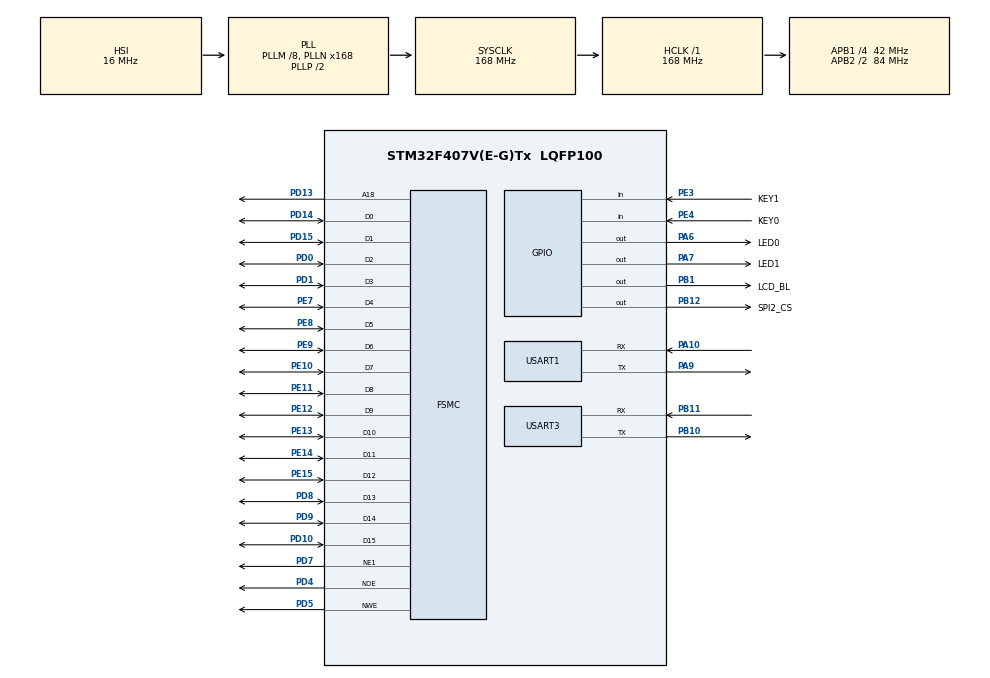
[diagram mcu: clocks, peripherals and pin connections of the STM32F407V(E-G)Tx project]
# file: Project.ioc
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Dma.Request0=USART1_RX
Dma.Request1=USART3_TX
Dma.Request2=USART1_TX
Dma.USART1_RX.0.Direction=DMA_PERIPH_TO_MEMORY
Dma.USART1_RX.0.FIFOMode=DMA_FIFOMODE_DISABLE
Dma.USART1_RX.0.Instance=DMA2_Stream2
Dma.USART1_RX.0.MemDataAlignment=DMA_MDATAALIGN_BYTE
Dma.USART1_RX.0.MemInc=DMA_MINC_ENABLE
Dma.USART1_RX.0.Mode=DMA_NORMAL
Dma.USART1_RX.0.PeriphDataAlignment=DMA_PDATAALIGN_BYTE
Dma.USART1_RX.0.PeriphInc=DMA_PINC_DISABLE
Dma.USART1_RX.0.Priority=DMA_PRIORITY_LOW
Dma.USART1_TX.2.Direction=DMA_MEMORY_TO_PERIPH
Dma.USART1_TX.2.FIFOMode=DMA_FIFOMODE_DISABLE
Dma.USART1_TX.2.Instance=DMA2_Stream7
Dma.USART1_TX.2.MemDataAlignment=DMA_MDATAALIGN_BYTE
Dma.USART1_TX.2.MemInc=DMA_MINC_ENABLE
Dma.USART1_TX.2.Mode=DMA_NORMAL
Dma.USART1_TX.2.PeriphDataAlignment=DMA_PDATAALIGN_BYTE
Dma.USART1_TX.2.PeriphInc=DMA_PINC_DISABLE
Dma.USART1_TX.2.Priority=DMA_PRIORITY_LOW
Dma.USART3_TX.1.Direction=DMA_MEMORY_TO_PERIPH
Dma.USART3_TX.1.FIFOMode=DMA_FIFOMODE_DISABLE
Dma.USART3_TX.1.Instance=DMA1_Stream3
Dma.USART3_TX.1.MemDataAlignment=DMA_MDATAALIGN_BYTE
Dma.USART3_TX.1.MemInc=DMA_MINC_ENABLE
Dma.USART3_TX.1.Mode=DMA_NORMAL
Dma.USART3_TX.1.PeriphDataAlignment=DMA_PDATAALIGN_BYTE
Dma.USART3_TX.1.PeriphInc=DMA_PINC_DISABLE
Dma.USART3_TX.1.Priority=DMA_PRIORITY_LOW
FREERTOS.Tasks01=defaultTask,24,128,StartDefaultTask,Default,NULL,Dynamic,NULL,NULL
FREERTOS.configTOTAL_HEAP_SIZE=30720
FREERTOS.configUSE_TICK_HOOK=1
FSMC.AddressSetupTime1=15
FSMC.BusTurnAroundDuration1=0
FSMC.DataSetupTime1=60
FSMC.ExtendedAddressSetupTime1=9
FSMC.ExtendedDataSetupTime1=1
FSMC.ExtendedMode1=FSMC_EXTENDED_MODE_ENABLE
Mcu.Family=STM32F4
Mcu.Name=STM32F407V(E-G)Tx
Mcu.Package=LQFP100
NVIC.DMA1_Stream3_IRQn=true\:5\:0\:true\:false\:true\:true\:false\:true\:true
NVIC.DMA2_Stream2_IRQn=true\:5\:0\:false\:false\:true\:true\:false\:true\:true
NVIC.DMA2_Stream7_IRQn=true\:5\:0\:false\:false\:true\:true\:false\:true\:true
NVIC.PriorityGroup=NVIC_PRIORITYGROUP_4
NVIC.TIM3_IRQn=true\:15\:0\:false\:false\:true\:false\:false\:true\:true
NVIC.TimeBase=TIM3_IRQn
NVIC.TimeBaseIP=TIM3
NVIC.USART1_IRQn=true\:5\:0\:true\:false\:true\:true\:true\:true\:true
NVIC.USART3_IRQn=true\:6\:0\:true\:false\:true\:true\:true\:true\:true
PA10.GPIO_Speed=GPIO_SPEED_FREQ_HIGH
PA10.Mode=Asynchronous
PA10.Signal=USART1_RX
PA13.Mode=Serial_Wire
PA13.Signal=SYS_JTMS-SWDIO
PA14.Mode=Serial_Wire
PA14.Signal=SYS_JTCK-SWCLK
PA6.GPIO_Label=LED0
PA6.Signal=GPIO_Output
PA7.GPIO_Label=LED1
PA7.Signal=GPIO_Output
PA9.GPIO_Speed=GPIO_SPEED_FREQ_HIGH
PA9.Mode=Asynchronous
PA9.Signal=USART1_TX
PB1.GPIO_Label=LCD_BL
PB1.Signal=GPIO_Output
PB10.GPIO_Speed=GPIO_SPEED_FREQ_HIGH
PB10.Mode=Asynchronous
PB10.Signal=USART3_TX
PB11.GPIO_Speed=GPIO_SPEED_FREQ_HIGH
PB11.Mode=Asynchronous
PB11.Signal=USART3_RX
PB12.GPIO_Label=SPI2_CS
PB12.Signal=GPIO_Output
PB13.Signal=SPI2_SCK
PB14.Signal=SPI2_MISO
PB15.Signal=SPI2_MOSI
PC14-OSC32_IN.Mode=LSE-External-Oscillator
PC14-OSC32_IN.Signal=RCC_OSC32_IN
PC15-OSC32_OUT.Mode=LSE-External-Oscillator
PC15-OSC32_OUT.Signal=RCC_OSC32_OUT
PD0.Mode=16b-d1
PD0.Signal=FSMC_D2
PD1.Mode=16b-d1
PD1.Signal=FSMC_D3
PD10.Mode=16b-d1
PD10.Signal=FSMC_D15
PD13.Mode=A18_1
PD13.Signal=FSMC_A18
PD14.Mode=16b-d1
PD14.Signal=FSMC_D0
PD15.Mode=16b-d1
PD15.Signal=FSMC_D1
PD4.Mode=Lcd1
PD4.Signal=FSMC_NOE
PD5.Mode=Lcd1
PD5.Signal=FSMC_NWE
PD7.Mode=NorPsramChipSelect1_1
PD7.Signal=FSMC_NE1
PD8.Mode=16b-d1
PD8.Signal=FSMC_D13
PD9.Mode=16b-d1
PD9.Signal=FSMC_D14
PE10.Mode=16b-d1
PE10.Signal=FSMC_D7
PE11.Mode=16b-d1
PE11.Signal=FSMC_D8
PE12.Mode=16b-d1
PE12.Signal=FSMC_D9
PE13.Mode=16b-d1
PE13.Signal=FSMC_D10
PE14.Mode=16b-d1
PE14.Signal=FSMC_D11
PE15.Mode=16b-d1
PE15.Signal=FSMC_D12
PE3.GPIO_Label=KEY1
PE3.GPIO_PuPd=GPIO_PULLUP
PE3.Signal=GPIO_Input
PE4.GPIO_Label=KEY0
PE4.GPIO_PuPd=GPIO_PULLUP
PE4.Signal=GPIO_Input
PE7.Mode=16b-d1
PE7.Signal=FSMC_D4
PE8.Mode=16b-d1
PE8.Signal=FSMC_D5
PE9.Mode=16b-d1
PE9.Signal=FSMC_D6
PH0-OSC_IN.Mode=HSE-External-Oscillator
PH0-OSC_IN.Signal=RCC_OSC_IN
PH1-OSC_OUT.Mode=HSE-External-Oscillator
PH1-OSC_OUT.Signal=RCC_OSC_OUT
ProjectManager.HeapSize=0x200
ProjectManager.StackSize=0x400
ProjectManager.TargetToolchain=MDK-ARM V5
RCC.48MHZClocksFreq_Value=84000000
RCC.AHBFreq_Value=168000000
RCC.APB1CLKDivider=RCC_HCLK_DIV4
RCC.APB1Freq_Value=42000000
RCC.APB1TimFreq_Value=84000000
RCC.APB2CLKDivider=RCC_HCLK_DIV2
RCC.APB2Freq_Value=84000000
RCC.APB2TimFreq_Value=168000000
RCC.CortexFreq_Value=168000000
RCC.HCLKFreq_Value=168000000
RCC.HSE_VALUE=8000000
RCC.HSI_VALUE=16000000
RCC.PLLM=8
RCC.PLLN=168
RCC.RCC_RTC_Clock_Source=RCC_RTCCLKSOURCE_LSE
RCC.RCC_RTC_Clock_SourceVirtual=RCC_RTCCLKSOURCE_LSE
RCC.SYSCLKFreq_VALUE=168000000
RCC.SYSCLKSource=RCC_SYSCLKSOURCE_PLLCLK
RCC.VCOOutputFreq_Value=336000000
USART1.VirtualMode=VM_ASYNC
USART3.VirtualMode=VM_ASYNC
VP_FREERTOS_VS_CMSIS_V2.Mode=CMSIS_V2
VP_RTC_VS_RTC_Activate.Mode=RTC_Enabled
VP_RTC_VS_RTC_Calendar.Mode=RTC_Calendar
VP_SYS_VS_tim3.Mode=TIM3
board=custom

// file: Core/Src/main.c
/* USER CODE BEGIN Header */
/**
 ******************************************************************************
 * @file           : main.c
 * @brief          : Main program body
 ******************************************************************************
 * @attention
 *
 * Copyright (c) 2025 STMicroelectronics.
 * All rights reserved.
 *
 * This software is licensed under terms that can be found in the LICENSE file
 * in the root directory of this software component.
 * If no LICENSE file comes with this software, it is provided AS-IS.
 *
 ******************************************************************************
 */
/* USER CODE END Header */
#include "main.h"
#include "cmsis_os.h"
#include "dma.h"
#include "rtc.h"
#include "usart.h"
#include "gpio.h"
#include "fsmc.h"

/* USER CODE BEGIN Includes */
#include "lcd.h"
#include "touch.h"
#include "delay.h"
#include "lv_port_disp.h"
#include "lv_port_indev.h"
#include "lv_port_fs.h"
#include "events_init.h"
#include "gui_guider.h"
#include "esp8266.h"
#include "norflash.h"
/* USER CODE END Includes */

void SystemClock_Config(void);
void MX_FREERTOS_Init(void);
/* USER CODE BEGIN PFP */
void rtp_test(void);
void load_draw_dialog(void);
/* USER CODE END PFP */

/* USER CODE BEGIN 0 */
lv_ui guider_ui;
char at_test[] = "AT\r\n";
/* USER CODE END 0 */

int main(void)
{

  /* MCU Configuration--------------------------------------------------------*/

  /* Reset of all peripherals, Initializes the Flash interface and the Systick. */
  HAL_Init();

  /* Configure the system clock */
  SystemClock_Config();

  /* Initialize all configured peripherals */
  MX_GPIO_Init();
  MX_DMA_Init();
  // MX_FSMC_Init();
  MX_USART1_UART_Init();
  MX_RTC_Init();
  MX_USART3_UART_Init();
  /* USER CODE BEGIN 2 */
	delay_init();
  norflash_init();  //初始化w25q64
  /* 延时等待2s，等待ESP8266稳定 */
  HAL_Delay(2000);

  // char s[] = "AT\r\n";
  // HAL_UART_Transmit_DMA(&huart1, (uint8_t*)s, strlen(s));

  if(ESP8266_Init() == 1)
  {
    /* 如果WIFI连接成功，进行时间的校准 */

  }

  // 初始化esp8266使用的串口发送的阻塞模式+DMA2接收，初始化完模块后，启用DMA2发送
  MX_USART1_UART_Init_DMA();

	lv_init();                          // lvgl初始化
  lv_port_disp_init();                // 显示设备初始化
  // lv_port_indev_init();               // 输入设备初始化
  /* File system support for SPI Flash */
  // lv_port_fs_init();

	/* 使用GUI GUIDIER创建的UI */
	setup_ui(&guider_ui);
	events_init(&guider_ui);
	/*-----------------------*/
  /* USER CODE END 2 */

  /* Init scheduler */
  osKernelInitialize();  /* Call init function for freertos objects (in cmsis_os2.c) */
  MX_FREERTOS_Init();

  /* Start scheduler */
  osKernelStart();

  /* We should never get here as control is now taken by the scheduler */

  /* Infinite loop */
	while (1)
	{

	}
}

void SystemClock_Config(void)
{
  RCC_OscInitTypeDef RCC_OscInitStruct = {0};
  RCC_ClkInitTypeDef RCC_ClkInitStruct = {0};

  /** Configure the main internal regulator output voltage
  */
  __HAL_RCC_PWR_CLK_ENABLE();
  __HAL_PWR_VOLTAGESCALING_CONFIG(PWR_REGULATOR_VOLTAGE_SCALE1);

  /** Initializes the RCC Oscillators according to the specified parameters
  * in the RCC_OscInitTypeDef structure.
  */
  RCC_OscInitStruct.OscillatorType = RCC_OSCILLATORTYPE_HSI|RCC_OSCILLATORTYPE_LSE;
  RCC_OscInitStruct.LSEState = RCC_LSE_ON;
  RCC_OscInitStruct.HSIState = RCC_HSI_ON;
  RCC_OscInitStruct.HSICalibrationValue = RCC_HSICALIBRATION_DEFAULT;
  RCC_OscInitStruct.PLL.PLLState = RCC_PLL_ON;
  RCC_OscInitStruct.PLL.PLLSource = RCC_PLLSOURCE_HSI;
  RCC_OscInitStruct.PLL.PLLM = 8;
  RCC_OscInitStruct.PLL.PLLN = 168;
  RCC_OscInitStruct.PLL.PLLP = RCC_PLLP_DIV2;
  RCC_OscInitStruct.PLL.PLLQ = 4;
  if (HAL_RCC_OscConfig(&RCC_OscInitStruct) != HAL_OK)
  {
    Error_Handler();
  }

  /** Initializes the CPU, AHB and APB buses clocks
  */
  RCC_ClkInitStruct.ClockType = RCC_CLOCKTYPE_HCLK|RCC_CLOCKTYPE_SYSCLK
                              |RCC_CLOCKTYPE_PCLK1|RCC_CLOCKTYPE_PCLK2;
  RCC_ClkInitStruct.SYSCLKSource = RCC_SYSCLKSOURCE_PLLCLK;
  RCC_ClkInitStruct.AHBCLKDivider = RCC_SYSCLK_DIV1;
  RCC_ClkInitStruct.APB1CLKDivider = RCC_HCLK_DIV4;
  RCC_ClkInitStruct.APB2CLKDivider = RCC_HCLK_DIV2;

  if (HAL_RCC_ClockConfig(&RCC_ClkInitStruct, FLASH_LATENCY_5) != HAL_OK)
  {
    Error_Handler();
  }
}

/* USER CODE BEGIN 4 */

/**
 * @brief       电阻触摸屏测试函数
 * @param       无
 * @retval      无
 */
void rtp_test(void)
{
	uint8_t i = 0;

	while (1)
	{
		// key = key_scan(0);
		tp_dev.scan(0);

		if (tp_dev.sta & TP_PRES_DOWN) /* 触摸屏被按下 */
		{
			if (tp_dev.x[0] < lcddev.width && tp_dev.y[0] < lcddev.height)
			{
				if (tp_dev.x[0] > (lcddev.width - 24) && tp_dev.y[0] < 16)
				{
					load_draw_dialog(); /* 清除 */
				}
				else
				{
					tp_draw_big_point(tp_dev.x[0], tp_dev.y[0], RED); /* 绘制 */
				}
			}
		}
		else
		{
			delay_ms(10); /* 延时10ms */
		}

		if (HAL_GPIO_ReadPin(KEY0_GPIO_Port, KEY0_Pin) == GPIO_PIN_RESET) /* 有按键按下 */
		{
			delay_ms(20);	/* 去除抖动 */
			if (HAL_GPIO_ReadPin(KEY0_GPIO_Port, KEY0_Pin) == GPIO_PIN_RESET)
			{
				lcd_clear(WHITE); /* 清屏 */
				tp_adjust();	  /* 校准 */
				// tp_save_adjust_data();
				load_draw_dialog();
			}

		}

		i++;

		if (i % 20 == 0)
			HAL_GPIO_TogglePin(LED0_GPIO_Port, LED0_Pin);
	}
}

/**
 * @brief       清空屏幕，并在右上角显示RST
 * @param       无
 * @retval      无
 */
void load_draw_dialog(void)
{
    lcd_clear(WHITE);                                                /* 清屏 */
    lcd_show_string(lcddev.width - 24, 0, 200, 16, 16, "RST", BLUE); /* 显示清屏区域 */
}

/* USER CODE END 4 */

void HAL_TIM_PeriodElapsedCallback(TIM_HandleTypeDef *htim)
{
  if (htim->Instance == TIM3)
  {
    HAL_IncTick();
  }
}

void Error_Handler(void)
{
	__disable_irq();
	while (1)
	{
	}
}

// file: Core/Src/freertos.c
/* USER CODE BEGIN Header */
/**
 ******************************************************************************
 * File Name          : freertos.c
 * Description        : Code for freertos applications
 ******************************************************************************
 * @attention
 *
 * Copyright (c) 2025 STMicroelectronics.
 * All rights reserved.
 *
 * This software is licensed under terms that can be found in the LICENSE file
 * in the root directory of this software component.
 * If no LICENSE file comes with this software, it is provided AS-IS.
 *
 ******************************************************************************
 */
/* USER CODE END Header */

#include "FreeRTOS.h"
#include "task.h"
#include "main.h"
#include "cmsis_os.h"

/* USER CODE BEGIN Includes */
#include "lcd.h"
#include "usart.h"
#include "lvgl.h"
#include "norflash.h"
#include "touch.h"
#include "string.h"
#include "rtc.h"
#include "stdio.h"
#include "esp8266.h"
#include "weather.h"
/* USER CODE END Includes */

/* USER CODE BEGIN Variables */

/* 采用cmsis标准来设置句柄 */

osThreadId_t LVGLTaskHandle;
const osThreadAttr_t LVGLTask_attributes = {
	.name = "LVGLTask",
	.stack_size = 1024 * 10,
	.priority = (osPriority_t)osPriorityHigh,
};

osThreadId_t KEYTaskHandle;
const osThreadAttr_t KEYTask_attributes = {
	.name = "KEYTask",
	.stack_size = 128,
	.priority = (osPriority_t)osPriorityNormal,
};

osThreadId_t WifiTaskHandle;
const osThreadAttr_t WifiTask_attributes = {
	.name = "WifiTask",
	.stack_size = 128,
	.priority = (osPriority_t)osPriorityBelowNormal,
};

osThreadId_t Send_Data_To_Server_TaskHandle;
const osThreadAttr_t Send_Data_To_Server_Task_attributes = {
	.name = "Send_Data_To_Server_Task",
	.stack_size = 1024 * 2,
	.priority = (osPriority_t)osPriorityBelowNormal1,
};

osThreadId_t Uart_dma_rx_TaskHandle;
const osThreadAttr_t Uart_dma_rx_Task_attributes = {
	.name = "Uart_dma_rx_Task",
	.stack_size = 1024 * 2,
	.priority = (osPriority_t)osPriorityBelowNormal2,
};

// 天气定时器
osTimerId_t timer_id1;

//超时定时器，用于判断数据是否接收完整
osTimerId_t timeout_timer;

/* 当flag 0号位被置位时，触发更新天气任务 */
uint32_t update_weather_flag = (0x01 << 0);

/* DMA接收任务信号量 */
osSemaphoreId_t dma_rx_sem;

/* 更新天气的信号 */
osSemaphoreId_t update_weather_sem;

/* 串口发送完成信号量 */
osSemaphoreId_t uart_tc_sem;

/* 传递接收数据的队列（存储数据长度） */
osMessageQueueId_t g_rx_data_queue;

/* ESP8266指令队列 */
osMessageQueueId_t cmd_queue;

// 用与判断接收到数据的响应
osMessageQueueId_t ack_queue;

/* USER CODE END Variables */
/* Definitions for defaultTask */
osThreadId_t defaultTaskHandle;
const osThreadAttr_t defaultTask_attributes = {
  .name = "defaultTask",
  .stack_size = 128 * 4,
  .priority = (osPriority_t) osPriorityNormal,
};

/* USER CODE BEGIN FunctionPrototypes */
void KEYTask(void *argument);
void LVGLTask(void *argument);
void WifiTask(void *argument);
void Cmd_Send_and_Response_Task(void *argument);
void Uart_dma_rx_task(void *argument);
void Send_Data_To_Server_Task(void *argument);

void WeatherTimer(void); 	//定时更新天气
void TimeoutTimer(void);	//超时定时器

/* USER CODE END FunctionPrototypes */

void StartDefaultTask(void *argument);

void MX_FREERTOS_Init(void); /* (MISRA C 2004 rule 8.1) */

/* Hook prototypes */
void vApplicationTickHook(void);

/* USER CODE BEGIN 3 */
void vApplicationTickHook(void)
{
	/* This function will be called by each tick interrupt if
	configUSE_TICK_HOOK is set to 1 in FreeRTOSConfig.h. User code can be
	added here, but the tick hook is called from an interrupt context, so
	code must not attempt to block, and only the interrupt safe FreeRTOS API
	functions can be used (those that end in FromISR()). */
	lv_tick_inc(1);
}
/* USER CODE END 3 */

void MX_FREERTOS_Init(void) {

  /* USER CODE BEGIN RTOS_SEMAPHORES */
	/* add semaphores, ... */
	/* 配置：最大令牌1（二进制），初始令牌0（创建后无令牌，任务需等待） */
	dma_rx_sem = osSemaphoreNew(1, 0, NULL);

	/* 配置：最大令牌1（二进制），初始令牌1（创建后即可使用UART发送） */
	// uart_tc_sem = osSemaphoreNew(1, 0, NULL);

	update_weather_sem = osSemaphoreNew(1, 0, NULL);

	/* 接收数据队列：存储uint16_t（数据长度），队列长度8，无属性 */
	// g_rx_data_queue = osMessageQueueNew(8, sizeof(uint16_t), NULL);
	// cmd_queue = osMessageQueueNew(5, sizeof(char*), NULL);
	ack_queue = osMessageQueueNew(5, sizeof(uint8_t), NULL);
  /* USER CODE END RTOS_SEMAPHORES */

  /* Create the thread(s) */
  /* creation of defaultTask */
//   defaultTaskHandle = osThreadNew(StartDefaultTask, NULL, &defaultTask_attributes);

  /* USER CODE BEGIN RTOS_THREADS */
	/* add threads, ... */
	// KEYTaskHandle = osThreadNew(KEYTask, NULL, &KEYTask_attributes);
	LVGLTaskHandle = osThreadNew(LVGLTask, NULL, &LVGLTask_attributes);
	// Cmd_Send_and_Response_TaskHandle = osThreadNew(Cmd_Send_and_Response_Task, NULL, &Cmd_Send_and_Response_Task_attributes);
	Uart_dma_rx_TaskHandle = osThreadNew(Uart_dma_rx_task, NULL, &Uart_dma_rx_Task_attributes);
	Send_Data_To_Server_TaskHandle = osThreadNew(Send_Data_To_Server_Task, NULL, &Send_Data_To_Server_Task_attributes);
	// Uart_tx_TaskHandle = osThreadNew(Uart_tx_task, NULL, &Uart_tx_Task_attributes);
	// WifiTaskHandle = osThreadNew(WifiTask, NULL, &LVGLTask_attributes);
  /* USER CODE END RTOS_THREADS */

}

void StartDefaultTask(void *argument)
{
  /* USER CODE BEGIN StartDefaultTask */
	RTC_TimeTypeDef lastPrintTime = {0};
	uint8_t isFirstRun = 1;
	/* Infinite loop */
	for (;;)
	{
		// lcd_show_num(10, 130, 240, 24, 24);
		// lcd_show_string(10, 130, 240, 24, 24, "https://github.com/qianxiaohan", RED);
		// uart_transmit_str(huart3, (uint8_t*)"hello lyx\r\n");
		// osDelay(pdMS_TO_TICKS(1000));
		char aShowTime[50] = {0};
		RTC_TimeTypeDef currentTime;
		RTC_DateTypeDef currentDate;

		/* Get the RTC current Time */
		HAL_StatusTypeDef status1 = HAL_RTC_GetTime(&hrtc, &currentTime, RTC_FORMAT_BIN);
		HAL_StatusTypeDef status2 = HAL_RTC_GetDate(&hrtc, &currentDate, RTC_FORMAT_BIN);

		/* 第一次运行 */
		if(isFirstRun)
		{
			lastPrintTime = currentTime;
			isFirstRun = 0;
			sprintf(aShowTime, "%2d:%2d:%2d\r\n", currentTime.Hours, currentTime.Minutes, currentTime.Seconds);

			if (osSemaphoreAcquire(uart_tc_sem, 1000) == osOK)
			{
				uart_transmit_str(huart3, (uint8_t *)aShowTime);
				osSemaphoreRelease(uart_tc_sem);
			}
		}
		else
		{
			/* 上次打印到现在经过的分钟数 */
			uint16_t totalMinutesLast = lastPrintTime.Hours * 60 + lastPrintTime.Minutes;
			uint16_t totalMinutesCurrent = currentTime.Hours * 60 + currentTime.Minutes;
			uint16_t minuteDifference = totalMinutesCurrent - totalMinutesLast;

			if(minuteDifference >= 1)
			{
				lastPrintTime = currentTime;
				sprintf(aShowTime, "%2d:%2d:%2d\r\n", currentTime.Hours, currentTime.Minutes, currentTime.Seconds);

				if (osSemaphoreAcquire(uart_tc_sem, 1000) == osOK)
				{
					uart_transmit_str(huart3, (uint8_t *)aShowTime);
					osSemaphoreRelease(uart_tc_sem);
				}
				osSemaphoreRelease(update_weather_sem);
			}
		}

		osDelay(pdMS_TO_TICKS(5000));

	}
  /* USER CODE END StartDefaultTask */
}

/* USER CODE BEGIN Application */

void KEYTask(void *argument)
{
	/* Infinite loop */
	uint8_t pressed = 0; // 1表示按键按下，0表示按键松开
	uint8_t erase_value[ADJDATA_SIZE];
	memset(erase_value, 0xFF, sizeof(erase_value));
	for (;;)
	{
		if (HAL_GPIO_ReadPin(KEY0_GPIO_Port, KEY0_Pin) == GPIO_PIN_RESET)
		{
			osDelay(pdMS_TO_TICKS(20));
			if ((HAL_GPIO_ReadPin(KEY0_GPIO_Port, KEY0_Pin) == GPIO_PIN_RESET) && (pressed == 0))
			{
				/* 清除FLASH中的13个字节的校准数据 */
				norflash_write(erase_value, TP_SAVE_ADDR_BASE, ADJDATA_SIZE);
			}
		}
		else
		{
			pressed = 0; /* 按键松开 */
		}
		/* delay 100ms */
		osDelay(pdMS_TO_TICKS(100));
	}
}

void LVGLTask(void *argument)
{
	/* Infinite loop */
	for (;;)
	{
		lv_timer_handler();
		/* delay 5ms */
		osDelay(pdMS_TO_TICKS(5));
	}
}

void WifiTask(void *argument)
{
	/* 周期性地检查WIFI是否连接成功 */
	for (;;)
	{
	}
}

/**
 * @brief 发送与解析任务，通过串口向esp8266发送消息，并且解析来自esp8266的数据
 *
 * @param argument
 */
void Cmd_Send_and_Response_Task(void *argument)
{

}

void Send_Data_To_Server_Task(void *argument)
{
	char buffer2[128]; //用于调试程序
	char *raw_json;
	now_weather_t nwt;

	uint8_t ack_code;
	osStatus_t queue_status;
	uint8_t cnt;

	//尝试更新天气
	//1.开启透传模式
	uint8_t cmd1[] = "AT+CIPSTART=\"TCP\",\"api.seniverse.com\",80\r\n"; // 连接TCP服务器指令

	uint8_t timer_out[] = "Ready update weather...\r\n";
	uint8_t connect_ok[] = "Connect Server...\r\n";

	uint8_t ready_send_data[] = "Ready send data to server...\r\n";

	uint8_t cmd3[] = "GET /v3/weather/now.json?key=SigzO8oaCNRAS96L8&location=chengdu&language=en&unit=c HTTP/1.1\r\nHost: api.seniverse.com\r\n\r\n";
	cnt = strlen((char*)cmd3);
	char cmd2[256];
	sprintf(cmd2, "AT+CIPSEND=%d\r\n", cnt);

	//创建天气定时器并启动，周期性更新天气
	WeatherTimer();

	//创建指令响应定时器，用于判断接收是否完成
	TimeoutTimer();

	for (;;)
	{
		//软件定时时间到了，准备更新天气
		if (osSemaphoreAcquire(update_weather_sem, osWaitForever) == osOK)
		{
			// 向串口助手发送数据
			HAL_UART_Transmit_DMA(&huart3, timer_out, sizeof(timer_out)-1);

			// 向ESP8266发送数据
			HAL_UART_Transmit_DMA(&huart1, cmd1, sizeof(cmd1)-1);

			// 启动超时定时器，超时时间2s
			osTimerStart(timeout_timer, 2000);

			// 如果没有获取到响应，最多等待5s
			queue_status = osMessageQueueGet(ack_queue, &ack_code, NULL, 5000);

			if(queue_status == osOK && ack_code==0x01)
			{
				//使用DMA发送至串口助手
				HAL_UART_Transmit_DMA(&huart3, connect_ok, strlen((char*)connect_ok));

				// 非透传模式下发送数据
				HAL_UART_Transmit_DMA(&huart1, (uint8_t*)cmd2, strlen(cmd2));
				// HAL_UART_Transmit_DMA(&huart1, wifis, sizeof(wifis)-1);

				// 启动超时定时器，超时时间2s
				osTimerStart(timeout_timer, 2000);

				// // 如果没有获取到响应，最多等待5s
				queue_status = osMessageQueueGet(ack_queue, &ack_code, NULL, 5000);

				if(queue_status == osOK && ack_code==0x02)
				{
					//使用DMA发送至串口助手，准备发送数据
					HAL_UART_Transmit_DMA(&huart3, ready_send_data, strlen((char*)ready_send_data));

					//使用DMA发送第三条指令
					HAL_UART_Transmit_DMA(&huart1, cmd3, sizeof(cmd3)-1);

					// 启动超时定时器，超时时间2s
					osTimerStart(timeout_timer, 2000);

					// 等待连接TCP服务器指令响应
					queue_status = osMessageQueueGet(ack_queue, &ack_code, NULL, 5000);
					if(queue_status == osOK && ack_code==0x03)
					{
						// HAL_UART_Transmit_DMA(&huart3, debugBuffer, strlen((char*)debugBuffer));

						//找到要解析的json字符串开头
						raw_json = strchr((char*)debugBuffer, '{');

						//解析实况天气
						nwt = parse_now_weather_data(raw_json);

						//解析完后复制到全局变量，用于LVGL显示
						strcpy(mdt.weather, nwt.weather);
						strcpy(mdt.temp, nwt.temp);

						sprintf(buffer2, "%s, %s, %s, %s, %s\r\n", nwt.city_name, nwt.date, nwt.temp, nwt.weather, nwt.weather_code);

						/* 解析后的数据使用DMA发送至串口助手 */
						HAL_UART_Transmit_DMA(&huart3, (uint8_t *)buffer2, strlen(buffer2));

						//清空缓冲区
						ESP8266_Clear();
					}
					else
					{
						uint8_t temp[] = "Get response error!";
						HAL_UART_Transmit_DMA(&huart3, temp, sizeof(temp)-1);
					}
				}
				else
				{
					uint8_t temp[] = "Send data to server error!";
					HAL_UART_Transmit_DMA(&huart3, temp, sizeof(temp)-1);
				}
			}
			else
			{
				uint8_t temp[] = "Connect server error!";
				HAL_UART_Transmit_DMA(&huart3, temp, sizeof(temp)-1);
			}
		}
	}

}

/**
 * @brief 处理以DMA方式接收的数据
 *
 * @param argument
 */
void Uart_dma_rx_task(void *argument)
{
	osStatus_t queue_status;
	uint8_t ack_code = 0x00;
	for(;;)
	{
		// 等到超时定时器回调函数，释放信号量，认为数据接收完成了
		if(osSemaphoreAcquire(dma_rx_sem, osWaitForever) == osOK)
		{
			//清空上次的状态码
			ack_code = 0x00;

			// 判断响应
			if(strstr((char*)debugBuffer, "CONNECT") != NULL)
			{
				ack_code = 0x01;
			}
			else if(strstr((char*)debugBuffer, ">") != NULL)
			{
				ack_code = 0x02;
			}
			else if(strstr((char *)debugBuffer, "now") != NULL)
			{
				ack_code = 0x03;
			}

			// HAL_UART_Transmit_DMA(&huart3, debugBuffer, debug_data_len);
			// 清空缓冲区
			if(ack_code != 0x03)
				ESP8266_Clear();

			queue_status = osMessageQueuePut(ack_queue, &ack_code, 0, 0);
			if(queue_status != osOK)
			{
				//队列满，需要处理
			}
			// ESP8266_Clear();
		}
	}
}

/**
 * @brief 串口超时定时器回调函数
 *
 * @param arg
 */
void Timeout_timer_cb(void *arg)
{
	// 超时时间到了，可以任务数据接收完成了
	// 释放信号量，通知指令处理任务
	osSemaphoreRelease(dma_rx_sem);
}

/**
 * @brief 软件定时器回调函数
 *
 * @param arg
 */
void Timer1_Callback(void *arg)
{
	// 定时时间到，释放信号量
	osSemaphoreRelease(update_weather_sem);
}

/**
 * @brief 创建并启动获取天气的定时器
 *
 */
void WeatherTimer(void)
{
	// 使用UL后缀确保为无符号长整型，防止计算溢出，定时时间30分钟
    const TickType_t xTicks = pdMS_TO_TICKS( 10 * 60 * 1000UL );

	//返回定时器状态
	osStatus_t status;

	//创建freertos软件定时器，参数：回调函数、周期性定时器、回调函数参数、定时器属性
	timer_id1 = osTimerNew(Timer1_Callback, osTimerPeriodic, NULL, NULL);

	if(timer_id1 != NULL)
	{
		//定时器创建成功

		//启动定时器
		status = osTimerStart(timer_id1, xTicks);

		if(status != osOK)
		{
			//启动定时器失败
			uint8_t temp[] = "timer error";
			HAL_UART_Transmit_DMA(&huart3, temp, sizeof(temp)-1);
		}
	}
}

void TimeoutTimer(void)
{

	//创建freertos软件定时器，参数：回调函数、周期性定时器、回调函数参数、定时器属性
	timeout_timer = osTimerNew(Timeout_timer_cb, osTimerOnce, NULL, NULL);
}

/* USER CODE END Application */
